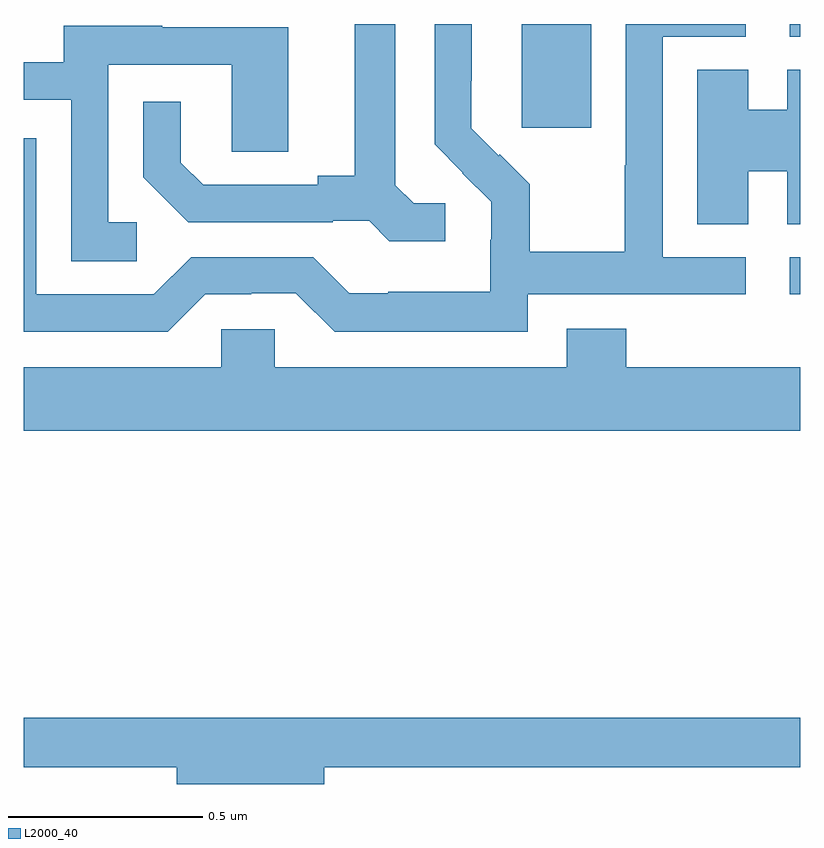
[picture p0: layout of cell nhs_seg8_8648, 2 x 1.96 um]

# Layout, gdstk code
import gdstk
lib = gdstk.Library(unit=1e-6, precision=1e-09)
def R(c, l, rs):  # rectangles x0, y0, x1, y1
    for r in rs: c.add(gdstk.rectangle(r[:2], r[2:], *l))
def P(c, l, *ps):  # polygons
    for p in ps: c.add(gdstk.Polygon(p, *l))
L2000_40 = (2000, 40)

nhs_seg8_8648 = lib.new_cell('nhs_seg8_8648')
R(nhs_seg8_8648, L2000_40, [(227.973,1098.204,228,1098.3), (227.282,1098.633,227.461,1098.9), (227.973,1098.867,228,1098.9)])
P(nhs_seg8_8648, L2000_40, [(227.298,1098.204),(227.86,1098.204),(227.86,1098.3),(227.646,1098.3),(227.646,1098.867),(227.86,1098.867),(227.86,1098.9),(227.55,1098.9),(227.55,1098.536),(227.548,1098.536),(227.548,1098.313),(227.303,1098.313),(227.303,1098.487),(227.226,1098.564),(227.223,1098.561),(227.153,1098.632),(227.153,1098.754),(227.154,1098.754),(227.154,1098.9),(227.058,1098.9),(227.058,1098.59),(227.131,1098.517),(227.13,1098.516),(227.204,1098.442),(227.204,1098.345),(227.202,1098.345),(227.202,1098.211),(226.939,1098.211),(226.939,1098.207),(226.839,1098.207),(226.746,1098.3),(226.431,1098.3),(226.335,1098.204),(226.032,1098.204),(226.032,1098.606),(226,1098.606),(226,1098.108),(226.371,1098.108),(226.467,1098.204),(226.586,1098.204),(226.586,1098.207),(226.701,1098.207),(226.801,1098.107),(227.298,1098.107)],
  [(227.086,1098.438),(227.004,1098.438),(226.957,1098.485),(226.957,1098.9),(226.853,1098.9),(226.853,1098.509),(226.757,1098.509),(226.757,1098.486),(226.462,1098.486),(226.405,1098.543),(226.405,1098.7),(226.308,1098.7),(226.308,1098.506),(226.424,1098.39),(226.796,1098.39),(226.796,1098.393),(226.89,1098.393),(226.942,1098.341),(227.086,1098.341)],
  [(226.291,1098.39),(226.218,1098.39),(226.218,1098.795),(226.536,1098.795),(226.536,1098.571),(226.681,1098.571),(226.681,1098.891),(226.357,1098.891),(226.357,1098.895),(226.103,1098.895),(226.103,1098.801),(226,1098.801),(226,1098.705),(226.122,1098.705),(226.122,1098.289),(226.291,1098.289)],
  [(227.866,1098.521),(227.966,1098.521),(227.966,1098.385),(228,1098.385),(228,1098.782),(227.966,1098.782),(227.966,1098.679),(227.866,1098.679),(227.866,1098.782),(227.735,1098.782),(227.735,1098.385),(227.866,1098.385)],
  [(228,1098.016),(227.552,1098.016),(227.552,1098.115),(227.399,1098.115),(227.399,1098.016),(226.647,1098.016),(226.647,1098.114),(226.509,1098.114),(226.509,1098.016),(226,1098.016),(226,1097.852),(228,1097.852)],
  [(226.774,1096.986),(228,1096.986),(228,1097.114),(226,1097.114),(226,1096.986),(226.394,1096.986),(226.394,1096.943),(226.774,1096.943)])

lib.write_gds('nhs_seg8_8648.gds')
